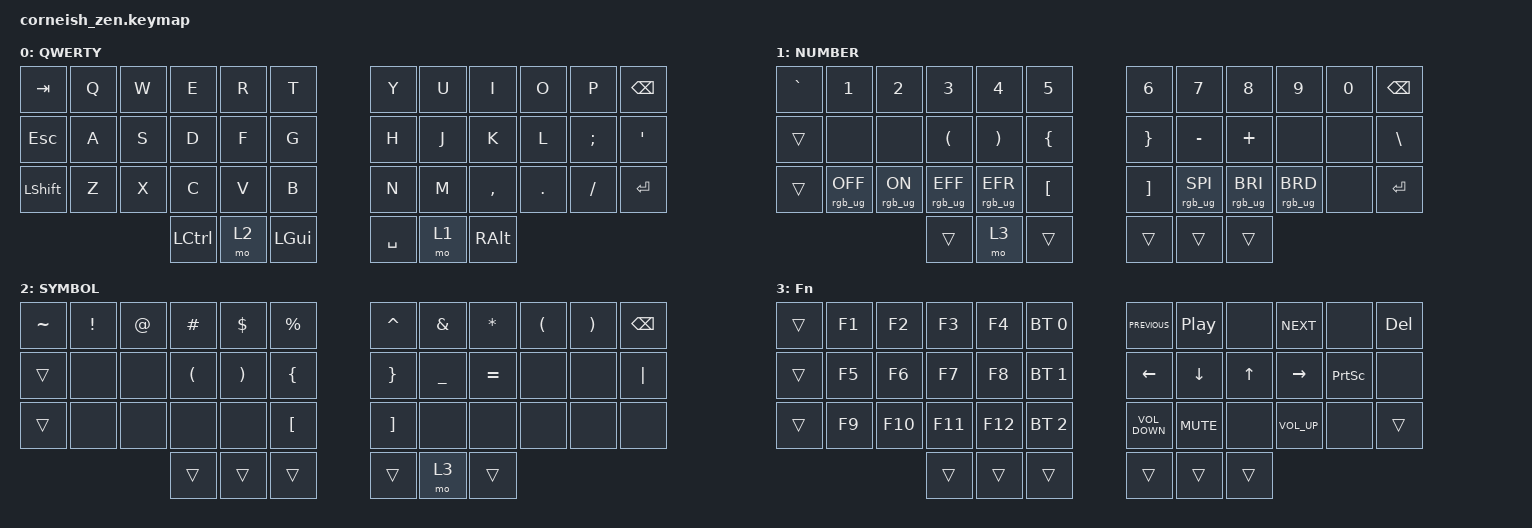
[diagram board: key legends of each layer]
/*
 * Copyright (c) 2020 The ZMK Contributors
 *
 * SPDX-License-Identifier: MIT
 */

#include <behaviors.dtsi>
#include <dt-bindings/zmk/bt.h>
#include <dt-bindings/zmk/keys.h>
#include <dt-bindings/zmk/outputs.h>
#include <dt-bindings/zmk/rgb.h>

/ {
    chosen {
        zmk,matrix_transform = &default_transform;

        // zmk,matrix_transform = &five_column_transform;
    };
};

/ {
    behaviors {
        td0: td0 {
            compatible = "zmk,behavior-tap-dance";
            label = "TD0";
            #binding-cells = <0>;
            bindings = <&kp LEFT_SHIFT>, <&kp CAPS>;
        };
    };

    keymap {
        compatible = "zmk,keymap";

        default_layer {
            display-name = "QWERTY";

            // ---------------------------------------------------------------------------------
            // |  TAB |  Q  |  W  |  E  |  R  |  T  |   |  Y  |  U   |  I  |  O  |  P  | BKSP  |
            // | ESC  |  A  |  S  |  D  |  F  |  G  |   |  H  |  J   |  K  |  L  |  ;  |  '    | 
            // | SHFT |  Z  |  X  |  C  |  V  |  B  |   |  N  |  M   |  ,  |  .  |  /  | ENTER |
            //                    | GUI | LWR | SPC |   | ENT | RSE  | ALT |

            bindings = <
&kp TAB    &kp Q  &kp W  &kp E      &kp R  &kp T          &kp Y        &kp U  &kp I      &kp O    &kp P     &kp BSPC
&kp ESC    &kp A  &kp S  &kp D      &kp F  &kp G          &kp H        &kp J  &kp K      &kp L    &kp SEMI  &kp SQT
&kp LSHFT  &kp Z  &kp X  &kp C      &kp V  &kp B          &kp N        &kp M  &kp COMMA  &kp DOT  &kp FSLH  &kp ENTER
                         &kp LCTRL  &mo 2  &kp LGUI       &kp SPACE    &mo 1  &kp RALT
            >;
        };

        lower_layer {
            display-name = "NUMBER";

            // -----------------------------------------------------------------------------------------
            // |  TAB |  1  |  2  |  3  |  4  |  5  |   |  6  |  7  |  8  |  9  |  0  | BKSP |
            // | BTCLR| BT1 | BT2 | BT3 | BT4 | BT5 |   | LFT | DWN |  UP | RGT |     |      |
            // | SHFT |     |     |     |     |     |   |     |     |     |     |     |      |
            //                    | GUI |     | SPC |   | ENT |     | ALT |

            bindings = <
&kp GRAVE  &kp N1           &kp N2          &kp N3             &kp N4          &kp N5             &kp N6           &kp N7           &kp N8           &kp N9           &kp N0    &kp BSPC
&trans     &none            &none           &kp LPAR           &kp RPAR        &kp LBRC           &kp RBRC         &kp MINUS        &kp PLUS         &none            &none     &kp BSLH
&trans     &rgb_ug RGB_OFF  &rgb_ug RGB_ON  &rgb_ug RGB_EFF    &rgb_ug RGB_EFR &kp LBKT           &kp RBKT         &rgb_ug RGB_SPI  &rgb_ug RGB_BRI  &rgb_ug RGB_BRD  &none     &kp ENTER
                                            &trans             &mo 3          &trans             &trans           &trans           &trans
            >;
        };

        raise_layer {
            display-name = "SYMBOL";

            // -----------------------------------------------------------------------------------------
            // |  TAB |  !  |  @  |  #  |  $  |  %  |   |  ^  |  &  |  *  |  (  |  )  | BKSP |
            // | CTRL |     |     |     |     |     |   |  -  |  =  |  [  |  ]  |  \  |  `   |
            // | SHFT |     |     |     |     |     |   |  _  |  +  |  {  |  }  | "|" |  ~   |
            //                    | GUI |     | SPC |   | ENT |     | ALT |

            bindings = <
&kp TILDE  &kp EXCL      &kp AT        &kp HASH        &kp DLLR        &kp PRCNT    &kp CARET  &kp AMPS   &kp ASTRK      &kp LPAR  &kp RPAR  &kp BSPC
&trans     &none         &none         &kp LPAR        &kp RPAR        &kp LBRC     &kp RBRC   &kp UNDER  &kp EQUAL   &none     &none     &kp PIPE
&trans     &none         &none         &none           &none           &kp LBKT     &kp RBKT   &none      &none          &none     &none     &none
                                       &trans          &trans          &trans       &trans     &mo 3     &trans
            >;
        };

        layer_3 {
            display-name = "Fn";
            bindings = <
&trans  &kp F1      &kp F2   &kp F3   &kp F4     &bt BT_SEL 0   &kp C_PREVIOUS    &kp C_PLAY_PAUSE    &none   &kp C_NEXT       &none            &kp DEL
&trans  &kp F5      &kp F6   &kp F7   &kp F8     &bt BT_SEL 1   &kp LEFT          &kp DOWN            &kp UP  &kp RIGHT        &kp PRINTSCREEN  &none
&trans  &kp F9      &kp F10  &kp F11  &kp F12    &bt BT_SEL 2   &kp C_VOLUME_DOWN &kp C_MUTE          &none   &kp C_VOLUME_UP  &none            &trans
                             &trans   &trans     &trans         &trans            &trans              &trans
            >;
        };
    };
};
